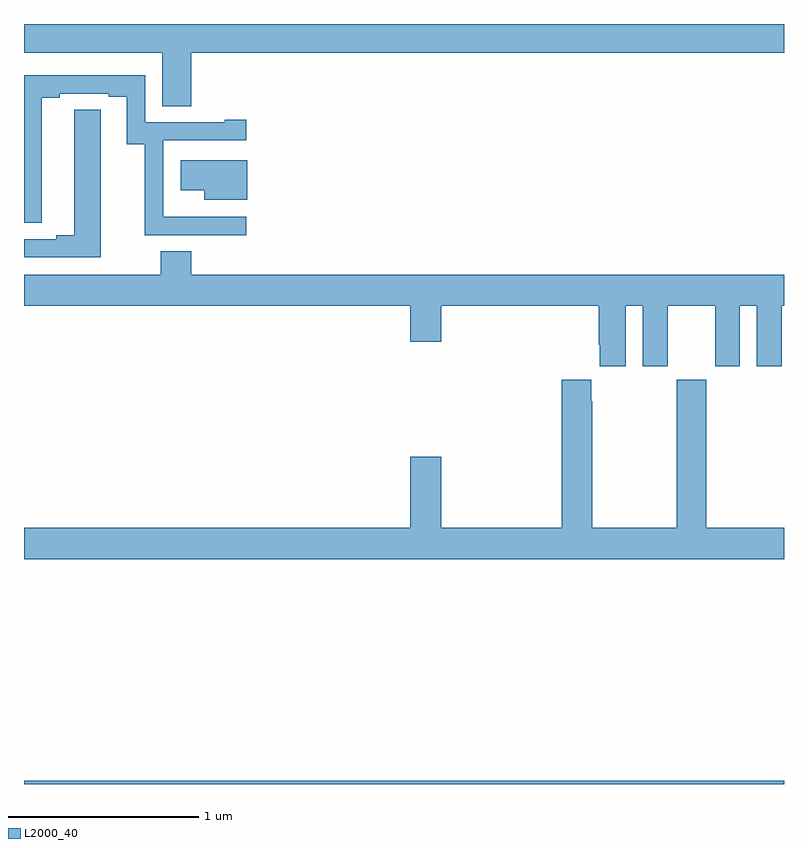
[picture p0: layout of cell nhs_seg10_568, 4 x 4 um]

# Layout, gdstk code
import gdstk
lib = gdstk.Library(unit=1e-6, precision=1e-09)
def R(c, l, rs):  # rectangles x0, y0, x1, y1
    for r in rs: c.add(gdstk.rectangle(r[:2], r[2:], *l))
def P(c, l, *ps):  # polygons
    for p in ps: c.add(gdstk.Polygon(p, *l))
L2000_40 = (2000, 40)

nhs_seg10_568 = lib.new_cell('nhs_seg10_568')
R(nhs_seg10_568, L2000_40, [(139,1264.5,143,1264.516)])
P(nhs_seg10_568, L2000_40, [(139.88,1268.348),(143,1268.348),(143,1268.5),(139,1268.5),(139,1268.348),(139.727,1268.348),(139.727,1268.068),(139.88,1268.068)],
  [(140.17,1267.485),(139.736,1267.485),(139.736,1267.486),(139.734,1267.486),(139.734,1267.887),(140.17,1267.887),(140.17,1267.996),(140.057,1267.996),(140.057,1267.983),(139.638,1267.983),(139.638,1268.229),(139,1268.229),(139,1267.453),(139.093,1267.453),(139.093,1268.113),(139.189,1268.113),(139.189,1268.133),(139.445,1268.133),(139.445,1268.118),(139.541,1268.118),(139.541,1267.867),(139.636,1267.867),(139.636,1267.389),(140.17,1267.389)],
  [(139.405,1267.94),(139.404,1267.94),(139.404,1268.048),(139.265,1268.048),(139.265,1267.388),(139.169,1267.388),(139.169,1267.368),(139,1267.368),(139,1267.272),(139.405,1267.272)],
  [(140.176,1267.783),(139.824,1267.783),(139.824,1267.625),(139.949,1267.625),(139.949,1267.574),(140.176,1267.574)],
  [(142.168,1267.016),(142.256,1267.016),(142.256,1266.699),(142.387,1266.699),(142.387,1267.016),(142.637,1267.016),(142.637,1266.699),(142.768,1266.699),(142.768,1267.016),(142.856,1267.016),(142.856,1266.699),(142.987,1266.699),(142.987,1267.016),(143,1267.016),(143,1267.18),(139.88,1267.18),(139.88,1267.304),(139.72,1267.304),(139.72,1267.18),(139,1267.18),(139,1267.016),(141.032,1267.016),(141.032,1266.828),(141.196,1266.828),(141.196,1267.016),(142.025,1267.016),(142.025,1266.811),(142.031,1266.811),(142.031,1266.699),(142.168,1266.699)],
  [(143,1265.848),(142.59,1265.848),(142.59,1266.628),(142.435,1266.628),(142.435,1265.848),(141.99,1265.848),(141.99,1266.515),(141.985,1266.515),(141.985,1266.628),(141.83,1266.628),(141.83,1265.848),(141.196,1265.848),(141.196,1266.223),(141.032,1266.223),(141.032,1265.848),(139,1265.848),(139,1265.684),(143,1265.684)])

lib.write_gds('nhs_seg10_568.gds')
